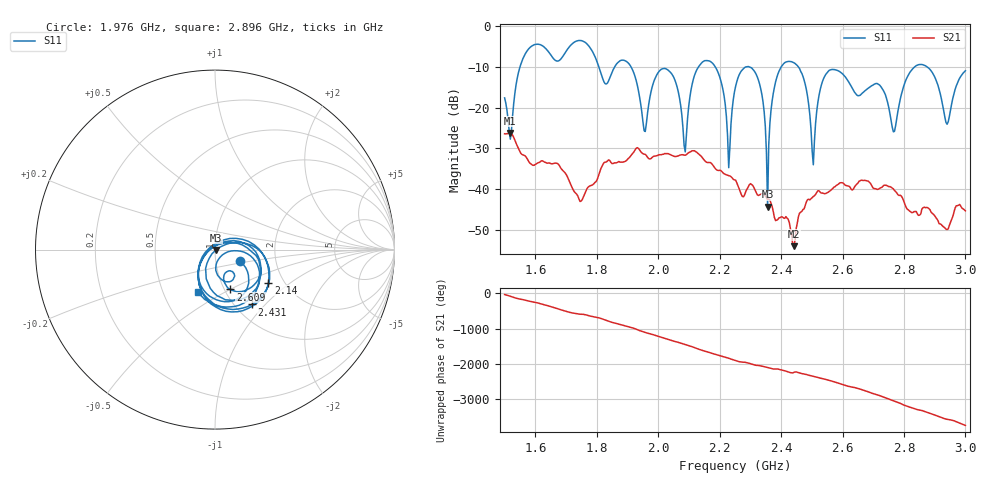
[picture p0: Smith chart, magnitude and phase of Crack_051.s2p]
# HZ S RI R 50
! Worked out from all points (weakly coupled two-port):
!   404 points, 1.5 GHz to 3 GHz, reference 50 ohm
!   highest |S21| = -26.27 dB at 1.519 GHz (marker M1); lowest = -54.1 dB at 2.442 GHz (marker M2)
!   lowest |S11| = -44.4 dB at 2.356 GHz (marker M3), VSWR 1.01, Z = 50.6 - j0.189 ohm
!   |S11| at or under -10 dB: 1.911 GHz to 2.131 GHz (219.8 MHz wide, 10.9 % of centre); 2.456 GHz to 2.835 GHz (379.1 MHz wide, 14.3 % of centre); 2.875 GHz to end of sweep (the widest 3 of 7)
!   S12 and S22 are empty: the file has one direction only
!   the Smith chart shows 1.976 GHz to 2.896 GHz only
!   S11 on the Smith chart (normalised r, x): 1.976 GHz: 1.31, -0.18; 2.14 GHz: 1.67, -0.70; 2.431 GHz: 1.19, -0.84; 2.609 GHz: 1.06, -0.50; 2.896 GHz: 0.75, -0.38
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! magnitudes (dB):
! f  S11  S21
! 1.5 GHz  -17.6  -26.5
! 1.519 GHz  -27.8  -26.3
! 1.578 GHz  -5.6  -33.2
! 1.753 GHz  -3.6  -42.6
! 1.976 GHz  -16.2  -32.6
! 2.002 GHz  -11.1  -31.6
! 2.088 GHz  -30.9  -31.7
! 2.14 GHz  -9.1  -32.0
! 2.23 GHz  -34.8  -36.8
! 2.252 GHz  -14.8  -37.9
! 2.319 GHz  -11.8  -40.9
! 2.356 GHz  -44.4  -42.6
! 2.382 GHz  -13.7  -47.8
! 2.431 GHz  -8.7  -49.8
! 2.442 GHz  -9.0  -54.1
! 2.501 GHz  -30.8  -42.2
! 2.542 GHz  -12.3  -41.2
! 2.609 GHz  -12.5  -39.1
! 2.751 GHz  -20.0  -39.5
! 2.896 GHz  -11.9  -46.2
! 2.94 GHz  -24.1  -50.0
! 3 GHz  -11.0  -45.4
